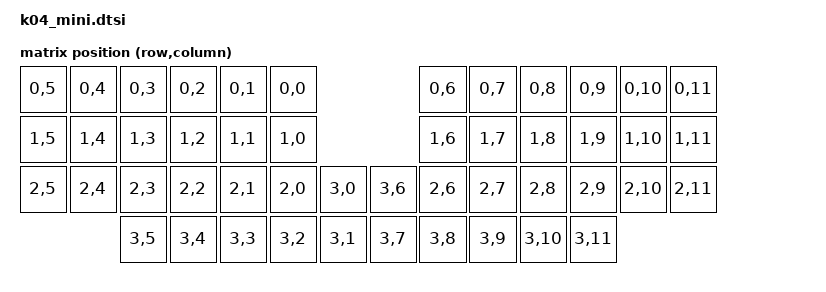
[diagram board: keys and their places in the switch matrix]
/*
 * Ergo Haven K:04 Mini — 46-key wireless BLE split (nRF52840 per half).
 *
 * Matrix pin map taken from Ergo Haven's own RMK sources
 * (ergohaven/rmk, keyboards/k04/keyboard_mini.toml):
 *   rows (read):  P0.28, P0.03, P1.10, P1.11
 *   cols (driven): P1.06, P1.04, P1.02, P1.00, P0.22, P0.20
 *   identical wiring on both halves; diodes col2row (same as K:03).
 *
 * Onboard indicator: a single WS2812-class smart RGB LED, data line on
 * P0.30 (RMK drives it with PWM sequences; here the Zephyr WS2812 SPI
 * backend feeds it, exposed as the ZMK underglow device for
 * ergohaven/zmk-smart-rgbled-widget).
 *
 * WHY SPI3 (and not SPI0/1/2):
 * nRF52840 silicon anomaly 198 — while SPIM3 transfers with EasyDMA,
 * any CPU RAM access in the same cycle corrupts the outgoing stream.
 * The BLE link layer touches RAM constantly, so a busy use of SPIM3 is
 * a dice roll. There is nowhere else to go, though: on the nRF52
 * family SPI0/1 are the SAME physical peripherals as TWI0/UART0 and
 * TWI1 (the board keeps a console UART and the right half's touchpad
 * owns TWIM1 — Zephyr build-asserts on those collisions), and SPI2,
 * while documented as free, did not drive the strip here (the LED
 * stayed dark on every build that tried it).
 *
 * The mitigation is therefore in the driver, not the devicetree:
 * ergohaven/zmk-smart-rgbled-widget no longer runs ZMK's 20 Hz
 * underglow refresh — it writes one frame per colour change straight
 * through the LED-strip API. One lottery ticket per colour change
 * instead of twenty per second, with a 10 s self-healing re-push.
 * Do not "helpfully" restore the periodic refresh.
 */

#include <dt-bindings/zmk/matrix_transform.h>
#include <dt-bindings/led/led.h>
#include <zephyr/dt-bindings/pinctrl/nrf-pinctrl.h>
#include "k04_mini_layout.dtsi"

&pinctrl {
    /* MOSI only: WS2812 is single-wire, the SPIM clock never leaves
     * the chip. P0.30 is the LED data line on both halves. */
    k04_spi3_default: k04_spi3_default {
        group1 {
            psels = <NRF_PSEL(SPIM_MOSI, 0, 30)>;
        };
    };

    k04_spi3_sleep: k04_spi3_sleep {
        group1 {
            psels = <NRF_PSEL(SPIM_MOSI, 0, 30)>;
            low-power-enable;
        };
    };
};

&spi3 {
    compatible = "nordic,nrf-spim";
    status = "okay";

    pinctrl-0 = <&k04_spi3_default>;
    pinctrl-1 = <&k04_spi3_sleep>;
    pinctrl-names = "default", "sleep";

    led_strip: ws2812@0 {
        compatible = "worldsemi,ws2812-spi";
        reg = <0>; /* ignored, but necessary for SPI bindings */
        spi-max-frequency = <4000000>;
        chain-length = <1>; /* single onboard indicator LED */
        spi-one-frame = <0x70>;
        spi-zero-frame = <0x40>;
        color-mapping = <LED_COLOR_ID_GREEN LED_COLOR_ID_RED LED_COLOR_ID_BLUE>;
    };
};

/ {
    chosen {
      zmk,kscan = &kscan0;
      zmk,physical-layout = &physical_layout;
      zmk,battery = &vbatt;
      zmk,underglow = &led_strip;
    };

    default_transform: keymap_transform_0 {
      compatible = "zmk,matrix-transform";
      columns = <12>;
      rows = <4>;
// | ESC  | Q    | W    | E    | R    | T    |                   | Y    | U    | I    | O    | P    | BSPC  |
// | TAB  | A    | S    | D    | F    | G    |                   | H    | J    | K    | L    | ;    | \     |
// | SHFT | Z    | X    | C    | V    | B    | _  |    _  | N    | M    | ,    | .    | '    | SHFT |
//                    | `    | GUI  | CTRL | MO1  | SPACE | ENTER | MO2  | ALT  | [    | ]    |
      map = <
RC(0,5) RC(0,4) RC(0,3) RC(0,2) RC(0,1) RC(0,0)                 RC(0,6) RC(0,7) RC(0,8) RC(0,9) RC(0,10) RC(0,11)
RC(1,5) RC(1,4) RC(1,3) RC(1,2) RC(1,1) RC(1,0)                 RC(1,6) RC(1,7) RC(1,8) RC(1,9) RC(1,10) RC(1,11)
RC(2,5) RC(2,4) RC(2,3) RC(2,2) RC(2,1) RC(2,0) RC(3,0) RC(3,6) RC(2,6) RC(2,7) RC(2,8) RC(2,9) RC(2,10) RC(2,11)
                 RC(3,5) RC(3,4) RC(3,3) RC(3,2) RC(3,1) RC(3,7) RC(3,8) RC(3,9) RC(3,10) RC(3,11)
      >;
    };

    kscan0: kscan {
      diode-direction = "col2row";
      wakeup-source;
    };

    vbatt: vbatt {
        status = "okay";
        compatible = "zmk,battery-voltage-divider";
        io-channels = <&adc 7>;
        output-ohms = <1564000>;
        full-ohms = <(806000 + 1564000)>;
    };

    touchpad_listener: touchpad_listener {
        compatible = "zmk,input-listener";
        status = "disabled";
    };

    split_inputs {
        #address-cells = <1>;
        #size-cells = <0>;

        touchpad_split: touchpad_split@0 {
            compatible = "zmk,input-split";
            reg = <0>;
            status = "disabled";
        };
    };
};
